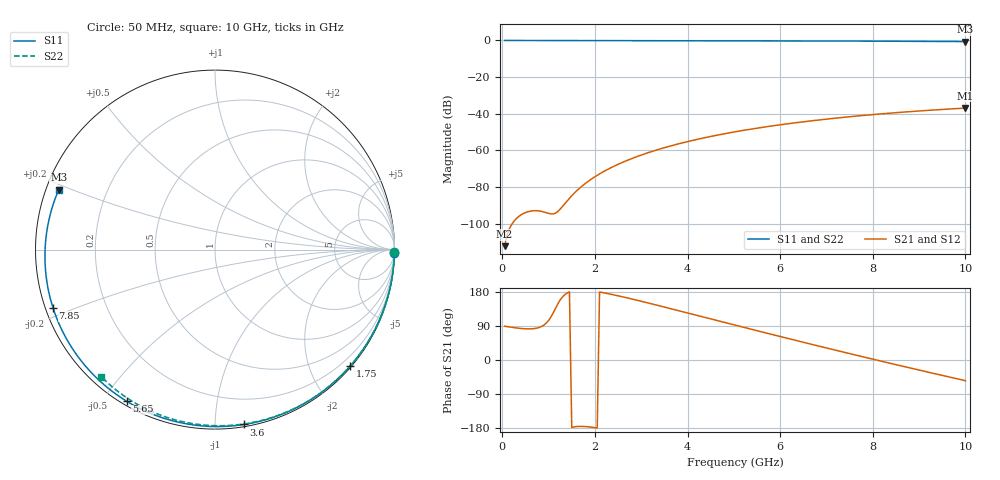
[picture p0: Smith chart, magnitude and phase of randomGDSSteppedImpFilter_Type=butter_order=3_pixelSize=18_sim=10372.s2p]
! freq	dB(S11)	phase(S11)	dB(S12)	phase(S12)
!  dB(S21)	phase(S21)	dB(S22)	phase(S22)
!S-par simulation data
#  GHz  S  DB  R 50
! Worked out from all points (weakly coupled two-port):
!   200 points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, 50 MHz to 10 GHz, reference 50 ohm
!   highest |S21| = -36.94 dB at 10 GHz (marker M1); lowest = -112.3 dB at 50 MHz (marker M2)
!   lowest |S11| = -0.6 dB at 10 GHz (marker M3), VSWR 28.61, Z = 1.81 + j9.25 ohm
!   |S11| at or under -10 dB: nowhere
!   |S22| runs from -0.4 to 0.0 dB; largest |S21 - S12| = 0
!   S11 on the Smith chart (normalised r, x): 50 MHz: 0, -96; 1.75 GHz: 0.02, -2.69; 3.6 GHz: 0.01, -1.18; 5.65 GHz: 0.02, -0.57; 7.85 GHz: 0.02, -0.17; 10 GHz: 0.04, +0.19
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0.05  -0.00 -1.2  -112.33 89.1  -112.33 89.1  -0.00 -0.8
0.45  -0.01 -10.7  -94.59 82.7  -94.59 82.7  -0.01 -6.8
0.85  -0.03 -20.0  -93.35 88.7  -93.35 88.7  -0.02 -12.9
1.25  -0.04 -29.3  -92.13 158.6  -92.13 158.6  -0.02 -18.9
1.7  -0.05 -39.6  -79.96 -175.2  -79.96 -175.2  -0.03 -25.5
1.75  -0.05 -40.7  -78.92 -175.3  -78.92 -175.3  -0.03 -26.3
2.05  -0.06 -47.5  -73.62 -179.6  -73.62 -179.6  -0.04 -30.7
2.45  -0.07 -56.3  -68.22 170.8  -68.22 170.8  -0.05 -36.5
2.9  -0.08 -66.0  -63.49 158.0  -63.49 158.0  -0.06 -43.0
3.4  -0.10 -76.4  -59.29 142.8  -59.29 142.8  -0.07 -50.0
3.6  -0.11 -80.6  -57.84 136.6  -57.84 136.6  -0.07 -52.8
4.3  -0.13 -94.6  -53.49 114.7  -53.49 114.7  -0.09 -62.4
5.05  -0.17 -109.0  -49.78 91.3  -49.78 91.3  -0.11 -72.4
5.65  -0.20 -120.3  -47.32 72.7  -47.32 72.7  -0.13 -80.2
6.2  -0.23 -130.3  -45.37 55.8  -45.37 55.8  -0.16 -87.1
6.7  -0.27 -139.4  -43.81 40.7  -43.81 40.7  -0.18 -93.3
7.3  -0.31 -150.2  -42.15 22.8  -42.15 22.8  -0.21 -100.6
7.85  -0.36 -160.2  -40.82 6.6  -40.82 6.6  -0.25 -107.1
8.35  -0.41 -169.3  -39.74 -8.0  -39.74 -8.0  -0.29 -113.0
8.8  -0.46 -177.7  -38.87 -20.9  -38.87 -20.9  -0.33 -118.2
9.2  -0.51 174.8  -38.16 -32.2  -38.16 -32.2  -0.36 -122.7
10  -0.61 159.0  -36.94 -54.5  -36.94 -54.5  -0.45 -131.8
